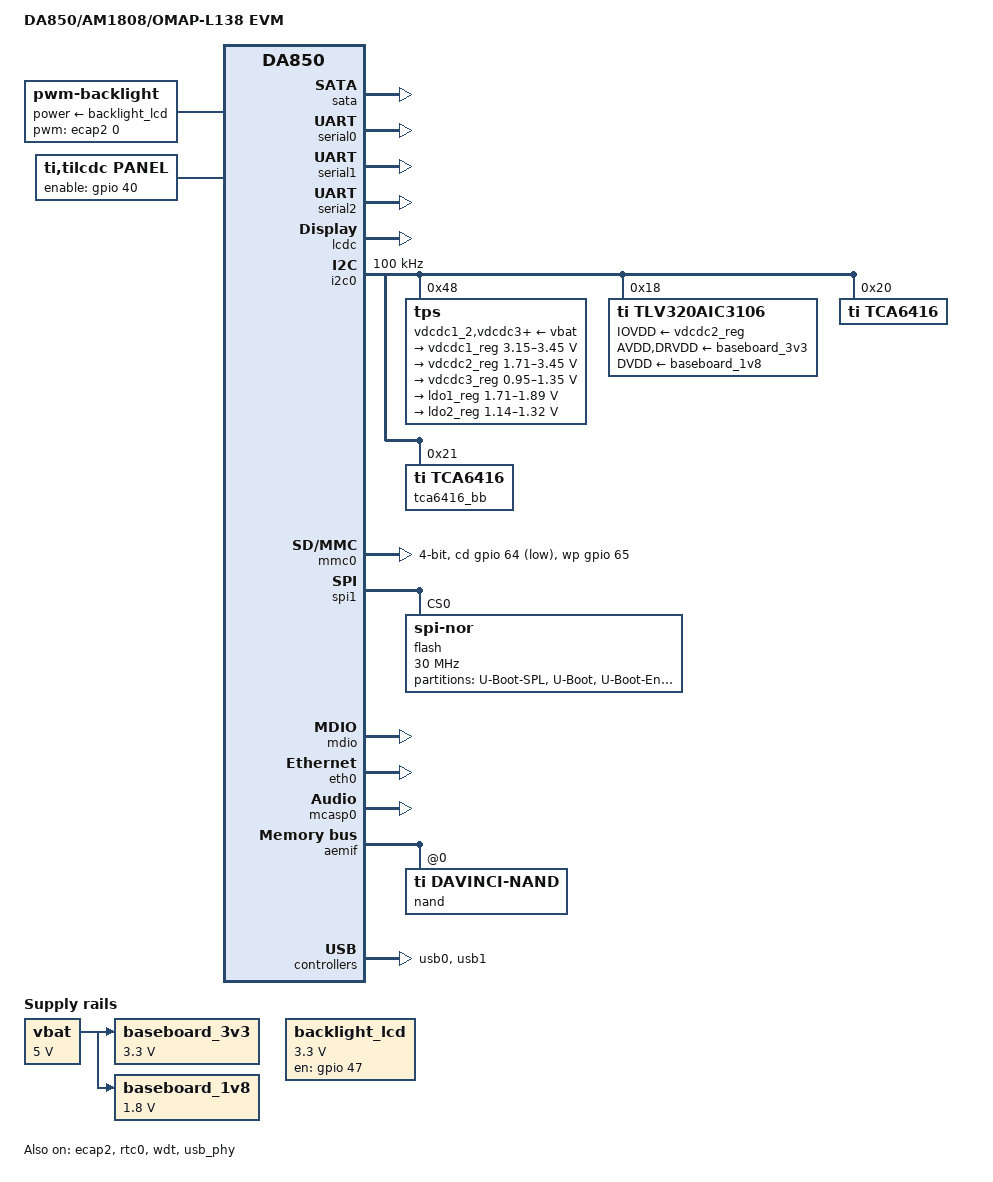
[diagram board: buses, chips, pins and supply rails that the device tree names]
// SPDX-License-Identifier: GPL-2.0-only
/*
 * Device Tree for DA850 EVM board
 *
 * Copyright (C) 2012 Texas Instruments Incorporated - https://www.ti.com/
 */
/dts-v1/;
#include "da850.dtsi"
#include <dt-bindings/gpio/gpio.h>

/ {
	compatible = "ti,da850-evm", "ti,da850";
	model = "DA850/AM1808/OMAP-L138 EVM";

	chosen {
		stdout-path = &serial2;
	};

	aliases {
		serial0 = &serial0;
		serial1 = &serial1;
		serial2 = &serial2;
		ethernet0 = &eth0;
		spi0 = &spi1;
	};

	backlight: backlight-pwm {
		pinctrl-names = "default";
		pinctrl-0 = <&ecap2_pins>;
		power-supply = <&backlight_lcd>;
		compatible = "pwm-backlight";
		/*
		 * The PWM here corresponds to production hardware. The
		 * schematic needs to be 1015171 (15 March 2010), Rev A
		 * or newer.
		 */
		pwms = <&ecap2 0 50000 0>;
		brightness-levels = <0 10 20 30 40 50 60 70 80 90 99>;
		default-brightness-level = <7>;
	};

	panel {
		compatible = "ti,tilcdc,panel";
		pinctrl-names = "default";
		pinctrl-0 = <&lcd_pins>;
		/*
		 * The vpif and the LCD are mutually exclusive.
		 * To enable VPIF, change the status below to 'disabled' then
		 * then change the status of the vpif below to 'okay'
		 */
		status = "okay";
		enable-gpios = <&gpio 40 GPIO_ACTIVE_HIGH>; /* lcd_panel_pwr */

		panel-info {
			ac-bias = <255>;
			ac-bias-intrpt = <0>;
			dma-burst-sz = <16>;
			bpp = <16>;
			fdd = <0x80>;
			sync-edge = <0>;
			sync-ctrl = <1>;
			raster-order = <0>;
			fifo-th = <0>;
		};

		display-timings {
			native-mode = <&timing0>;
			timing0: 480x272 {
				clock-frequency = <9000000>;
				hactive = <480>;
				vactive = <272>;
				hfront-porch = <3>;
				hback-porch = <2>;
				hsync-len = <42>;
				vback-porch = <3>;
				vfront-porch = <4>;
				vsync-len = <11>;
				hsync-active = <0>;
				vsync-active = <0>;
				de-active = <1>;
				pixelclk-active = <1>;
			};
		};
	};

	vbat: fixedregulator0 {
		compatible = "regulator-fixed";
		regulator-name = "vbat";
		regulator-min-microvolt = <5000000>;
		regulator-max-microvolt = <5000000>;
		regulator-boot-on;
	};

	baseboard_3v3: fixedregulator-3v3 {
		/* TPS73701DCQ */
		compatible = "regulator-fixed";
		regulator-name = "baseboard_3v3";
		regulator-min-microvolt = <3300000>;
		regulator-max-microvolt = <3300000>;
		vin-supply = <&vbat>;
		regulator-always-on;
		regulator-boot-on;
	};

	baseboard_1v8: fixedregulator-1v8 {
		/* TPS73701DCQ */
		compatible = "regulator-fixed";
		regulator-name = "baseboard_1v8";
		regulator-min-microvolt = <1800000>;
		regulator-max-microvolt = <1800000>;
		vin-supply = <&vbat>;
		regulator-always-on;
		regulator-boot-on;
	};

	backlight_lcd: backlight-regulator {
		compatible = "regulator-fixed";
		regulator-name = "lcd_backlight_pwr";
		regulator-min-microvolt = <3300000>;
		regulator-max-microvolt = <3300000>;
		gpio = <&gpio 47 GPIO_ACTIVE_HIGH>; /* lcd_backlight_pwr */
		enable-active-high;
	};

	sound {
		compatible = "simple-audio-card";
		simple-audio-card,name = "DA850-OMAPL138 EVM";
		simple-audio-card,widgets =
			"Line", "Line In",
			"Line", "Line Out";
		simple-audio-card,routing =
			"LINE1L", "Line In",
			"LINE1R", "Line In",
			"Line Out", "LLOUT",
			"Line Out", "RLOUT";
		simple-audio-card,format = "dsp_b";
		simple-audio-card,bitclock-master = <&link0_codec>;
		simple-audio-card,frame-master = <&link0_codec>;
		simple-audio-card,bitclock-inversion;

		simple-audio-card,cpu {
			sound-dai = <&mcasp0>;
			system-clock-frequency = <24576000>;
		};

		link0_codec: simple-audio-card,codec {
			sound-dai = <&tlv320aic3106>;
			system-clock-frequency = <24576000>;
		};
	};
};

&ecap2 {
	status = "okay";
};

&ref_clk {
	clock-frequency = <24000000>;
};

&pmx_core {
	status = "okay";

	mcasp0_pins: pinmux_mcasp0_pins {
		pinctrl-single,bits = <
			/*
			 * AHCLKX, ACLKX, AFSX, AHCLKR, ACLKR,
			 * AFSR, AMUTE
			 */
			0x00 0x11111111 0xffffffff
			/* AXR11, AXR12 */
			0x04 0x00011000 0x000ff000
		>;
	};
	nand_pins: nand_pins {
		pinctrl-single,bits = <
			/* EMA_WAIT[0], EMA_OE, EMA_WE, EMA_CS[4], EMA_CS[3] */
			0x1c 0x10110110  0xf0ff0ff0
			/*
			 * EMA_D[0], EMA_D[1], EMA_D[2],
			 * EMA_D[3], EMA_D[4], EMA_D[5],
			 * EMA_D[6], EMA_D[7]
			 */
			0x24 0x11111111  0xffffffff
			/* EMA_A[1], EMA_A[2] */
			0x30 0x01100000  0x0ff00000
		>;
	};
};

&cpu {
	cpu-supply = <&vdcdc3_reg>;
};

/*
 * The standard da850-evm kits and SOM's are 375MHz so enable this operating
 * point by default. Higher frequencies must be enabled for custom boards with
 * other variants of the SoC.
 */
&opp_375 {
	status = "okay";
};

&sata {
	status = "okay";
};

&serial0 {
	status = "okay";
};

&serial1 {
	status = "okay";
};

&serial2 {
	status = "okay";
};

&rtc0 {
	status = "okay";
};

&lcdc {
	status = "okay";
};

&i2c0 {
	status = "okay";
	clock-frequency = <100000>;
	pinctrl-names = "default";
	pinctrl-0 = <&i2c0_pins>;

	tps: tps@48 {
		reg = <0x48>;
	};
	tlv320aic3106: tlv320aic3106@18 {
		#sound-dai-cells = <0>;
		compatible = "ti,tlv320aic3106";
		reg = <0x18>;
		status = "okay";

		/* Regulators */
		IOVDD-supply = <&vdcdc2_reg>;
		AVDD-supply = <&baseboard_3v3>;
		DRVDD-supply = <&baseboard_3v3>;
		DVDD-supply = <&baseboard_1v8>;
	};
	tca6416: gpio@20 {
		compatible = "ti,tca6416";
		reg = <0x20>;
		gpio-controller;
		#gpio-cells = <2>;
	};
	tca6416_bb: gpio@21 {
		compatible = "ti,tca6416";
		reg = <0x21>;
		gpio-controller;
		#gpio-cells = <2>;
	};
};

&wdt {
	status = "okay";
};

&mmc0 {
	max-frequency = <50000000>;
	bus-width = <4>;
	status = "okay";
	pinctrl-names = "default";
	pinctrl-0 = <&mmc0_pins>;
	cd-gpios = <&gpio 64 GPIO_ACTIVE_LOW>;
	wp-gpios = <&gpio 65 GPIO_ACTIVE_HIGH>;
};

&spi1 {
	status = "okay";
	pinctrl-names = "default";
	pinctrl-0 = <&spi1_pins &spi1_cs0_pin>;
	flash: flash@0 {
		#address-cells = <1>;
		#size-cells = <1>;
		compatible = "jedec,spi-nor";
		spi-max-frequency = <30000000>;
		m25p,fast-read;
		reg = <0>;
		partition@0 {
			label = "U-Boot-SPL";
			reg = <0x00000000 0x00010000>;
			read-only;
		};
		partition@1 {
			label = "U-Boot";
			reg = <0x00010000 0x00080000>;
			read-only;
		};
		partition@2 {
			label = "U-Boot-Env";
			reg = <0x00090000 0x00010000>;
			read-only;
		};
		partition@3 {
			label = "Kernel";
			reg = <0x000a0000 0x00280000>;
		};
		partition@4 {
			label = "Filesystem";
			reg = <0x00320000 0x00400000>;
		};
		partition@5 {
			label = "MAC-Address";
			reg = <0x007f0000 0x00010000>;
			read-only;
		};
	};
};

&mdio {
	status = "okay";
	pinctrl-names = "default";
	pinctrl-0 = <&mdio_pins>;
	bus_freq = <2200000>;
};

&eth0 {
	status = "okay";
	pinctrl-names = "default";
	pinctrl-0 = <&mii_pins>;
};

&gpio {
	status = "okay";
};

/include/ "tps6507x.dtsi"

&tps {
	vdcdc1_2-supply = <&vbat>;
	vdcdc3-supply = <&vbat>;
	vldo1_2-supply = <&vbat>;

	regulators {
		vdcdc1_reg: regulator@0 {
			regulator-name = "VDCDC1_3.3V";
			regulator-min-microvolt = <3150000>;
			regulator-max-microvolt = <3450000>;
			regulator-always-on;
			regulator-boot-on;
		};

		vdcdc2_reg: regulator@1 {
			regulator-name = "VDCDC2_3.3V";
			regulator-min-microvolt = <1710000>;
			regulator-max-microvolt = <3450000>;
			regulator-always-on;
			regulator-boot-on;
			ti,defdcdc_default = <1>;
		};

		vdcdc3_reg: regulator@2 {
			regulator-name = "VDCDC3_1.2V";
			regulator-min-microvolt = <950000>;
			regulator-max-microvolt = <1350000>;
			regulator-always-on;
			regulator-boot-on;
			ti,defdcdc_default = <1>;
		};

		ldo1_reg: regulator@3 {
			regulator-name = "LDO1_1.8V";
			regulator-min-microvolt = <1710000>;
			regulator-max-microvolt = <1890000>;
			regulator-always-on;
			regulator-boot-on;
		};

		ldo2_reg: regulator@4 {
			regulator-name = "LDO2_1.2V";
			regulator-min-microvolt = <1140000>;
			regulator-max-microvolt = <1320000>;
			regulator-always-on;
			regulator-boot-on;
		};
	};
};

&mcasp0 {
	#sound-dai-cells = <0>;
	status = "okay";
	pinctrl-names = "default";
	pinctrl-0 = <&mcasp0_pins>;

	op-mode = <0>;          /* MCASP_IIS_MODE */
	tdm-slots = <2>;
	/* 4 serializer */
	serial-dir = <  /* 0: INACTIVE, 1: TX, 2: RX */
		0 0 0 0
		0 0 0 0
		0 0 0 1
		2 0 0 0
	>;
	tx-num-evt = <32>;
	rx-num-evt = <32>;
};

&edma0 {
	ti,edma-reserved-slot-ranges = <32 50>;
};

&edma1 {
	ti,edma-reserved-slot-ranges = <32 90>;
};

&aemif {
	pinctrl-names = "default";
	pinctrl-0 = <&nand_pins>;
	status = "ok";
	cs3 {
		#address-cells = <2>;
		#size-cells = <1>;
		clock-ranges;
		ranges;

		ti,cs-chipselect = <3>;

		nand@2000000,0 {
			compatible = "ti,davinci-nand";
			#address-cells = <1>;
			#size-cells = <1>;
			reg = <0 0x02000000 0x02000000
			       1 0x00000000 0x00008000>;

			ti,davinci-chipselect = <1>;
			ti,davinci-mask-ale = <0>;
			ti,davinci-mask-cle = <0>;
			ti,davinci-mask-chipsel = <0>;
			ti,davinci-ecc-mode = "hw";
			ti,davinci-ecc-bits = <4>;
			ti,davinci-nand-use-bbt;
		};
	};
};

&usb_phy {
	status = "okay";
};

&usb0 {
	status = "okay";
};

&usb1 {
	status = "okay";
};

&vpif {
	pinctrl-names = "default";
	pinctrl-0 = <&vpif_capture_pins>, <&vpif_display_pins>;
	/*
	 * The vpif and the LCD are mutually exclusive.
	 * To enable VPIF, disable the ti,tilcdc,panel then
	 * change the status below to 'okay'
	 */
	status = "disabled";
};
